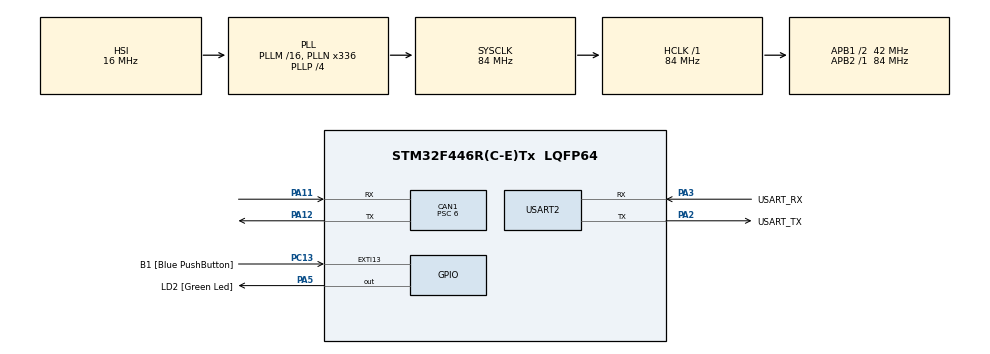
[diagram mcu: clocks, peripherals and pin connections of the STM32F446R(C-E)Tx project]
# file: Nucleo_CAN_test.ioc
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CAN1.BS1=CAN_BS1_11TQ
CAN1.BS2=CAN_BS2_2TQ
CAN1.CalculateBaudRate=500000
CAN1.CalculateTimeBit=1999.99
CAN1.CalculateTimeQuantum=142.85714285714286
CAN1.Mode=CAN_MODE_LOOPBACK
CAN1.Prescaler=6
Mcu.Family=STM32F4
Mcu.Name=STM32F446R(C-E)Tx
Mcu.Package=LQFP64
NVIC.CAN1_RX0_IRQn=true\:0\:0\:false\:false\:true\:true\:true
NVIC.PriorityGroup=NVIC_PRIORITYGROUP_0
NVIC.TIM3_IRQn=true\:0\:0\:false\:false\:true\:true\:true
PA11.Mode=CAN_Activate
PA11.Signal=CAN1_RX
PA12.Mode=CAN_Activate
PA12.Signal=CAN1_TX
PA13.GPIO_Label=TMS
PA13.Mode=Serial_Wire
PA13.Signal=SYS_JTMS-SWDIO
PA14.GPIO_Label=TCK
PA14.Mode=Serial_Wire
PA14.Signal=SYS_JTCK-SWCLK
PA2.GPIO_Label=USART_TX
PA2.Mode=Asynchronous
PA2.Signal=USART2_TX
PA3.GPIO_Label=USART_RX
PA3.Mode=Asynchronous
PA3.Signal=USART2_RX
PA5.GPIO_Label=LD2 [Green Led]
PA5.Signal=GPIO_Output
PB3.GPIO_Label=SWO
PB3.Signal=SYS_JTDO-SWO
PC13.GPIO_Label=B1 [Blue PushButton]
PC13.GPIO_ModeDefaultEXTI=GPIO_MODE_IT_FALLING
PC13.Signal=GPXTI13
PC14-OSC32_IN.Mode=LSE-External-Oscillator
PC14-OSC32_IN.Signal=RCC_OSC32_IN
PC15-OSC32_OUT.Mode=LSE-External-Oscillator
PC15-OSC32_OUT.Signal=RCC_OSC32_OUT
PH0-OSC_IN.Mode=HSE-External-Oscillator
PH0-OSC_IN.Signal=RCC_OSC_IN
PH1-OSC_OUT.Mode=HSE-External-Oscillator
PH1-OSC_OUT.Signal=RCC_OSC_OUT
ProjectManager.HeapSize=0x200
ProjectManager.StackSize=0x400
ProjectManager.TargetToolchain=Makefile
RCC.48MHZClocksFreq_Value=84000000
RCC.AHBFreq_Value=84000000
RCC.APB1CLKDivider=RCC_HCLK_DIV2
RCC.APB1Freq_Value=42000000
RCC.APB1TimFreq_Value=84000000
RCC.APB2Freq_Value=84000000
RCC.APB2TimFreq_Value=84000000
RCC.CortexFreq_Value=84000000
RCC.FLatency-AdvancedSettings=FLASH_LATENCY_2
RCC.HCLKFreq_Value=84000000
RCC.HSE_VALUE=8000000
RCC.HSI_VALUE=16000000
RCC.PLLN=336
RCC.PLLP=RCC_PLLP_DIV4
RCC.SYSCLKFreq_VALUE=84000000
RCC.SYSCLKSource=RCC_SYSCLKSOURCE_PLLCLK
RCC.USBFreq_Value=168000000
RCC.VCOOutputFreq_Value=336000000
TIM3.Period=10000-1
TIM3.Prescaler=8400-1
USART2.VirtualMode=VM_ASYNC
VP_TIM3_VS_ClockSourceINT.Mode=Internal
board=NUCLEO-F446RE

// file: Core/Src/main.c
/* USER CODE BEGIN Header */
/**
  ******************************************************************************
  * @file           : main.c
  * @brief          : Main program body
  ******************************************************************************
  * @attention
  *
  * <h2><center>&copy; Copyright (c) 2021 STMicroelectronics.
  * All rights reserved.</center></h2>
  *
  * This software component is licensed by ST under BSD 3-Clause license,
  * the "License"; You may not use this file except in compliance with the
  * License. You may obtain a copy of the License at:
  *                        opensource.org/licenses/BSD-3-Clause
  *
  ******************************************************************************
  */
/* USER CODE END Header */
#include "main.h"
#include "string.h"
#include "stdio.h"

/* USER CODE BEGIN PD */

#define FALSE 0
#define TRUE 1

/* USER CODE END PD */

CAN_HandleTypeDef hcan1;

TIM_HandleTypeDef htim3;

UART_HandleTypeDef huart2;

void SystemClock_Config(void);
static void MX_GPIO_Init(void);
static void MX_USART2_UART_Init(void);
static void MX_CAN1_Init(void);
static void MX_TIM3_Init(void);
/* USER CODE BEGIN PFP */

static void CAN_Filter_Config(void);
static void CAN_Application(void);
static void CAN_Rx(void);
volatile uint8_t can_send = TRUE;

CAN_RxHeaderTypeDef RxHeader;

/* USER CODE END PFP */

int main(void)
{

  /* MCU Configuration--------------------------------------------------------*/

  /* Reset of all peripherals, Initializes the Flash interface and the Systick. */
  HAL_Init();

  /* Configure the system clock */
  SystemClock_Config();

  /* Initialize all configured peripherals */
  MX_GPIO_Init();
  MX_USART2_UART_Init();
  MX_CAN1_Init();
  MX_TIM3_Init();
  /* USER CODE BEGIN 2 */
  HAL_CAN_ActivateNotification(&hcan1, CAN_IT_RX_FIFO0_MSG_PENDING);

  HAL_TIM_Base_Start_IT(&htim3);

  CAN_Filter_Config();

  if (HAL_CAN_Start(&hcan1) != HAL_OK){
    Error_Handler();
  }

  /* USER CODE END 2 */
  //CAN_Rx();
  /* Infinite loop */
  while (1)
  {
    //CAN_Application();

  }
}

void SystemClock_Config(void)
{
  RCC_OscInitTypeDef RCC_OscInitStruct = {0};
  RCC_ClkInitTypeDef RCC_ClkInitStruct = {0};

  /** Configure the main internal regulator output voltage
  */
  __HAL_RCC_PWR_CLK_ENABLE();
  __HAL_PWR_VOLTAGESCALING_CONFIG(PWR_REGULATOR_VOLTAGE_SCALE3);
  /** Initializes the RCC Oscillators according to the specified parameters
  * in the RCC_OscInitTypeDef structure.
  */
  RCC_OscInitStruct.OscillatorType = RCC_OSCILLATORTYPE_HSI;
  RCC_OscInitStruct.HSIState = RCC_HSI_ON;
  RCC_OscInitStruct.HSICalibrationValue = RCC_HSICALIBRATION_DEFAULT;
  RCC_OscInitStruct.PLL.PLLState = RCC_PLL_ON;
  RCC_OscInitStruct.PLL.PLLSource = RCC_PLLSOURCE_HSI;
  RCC_OscInitStruct.PLL.PLLM = 16;
  RCC_OscInitStruct.PLL.PLLN = 336;
  RCC_OscInitStruct.PLL.PLLP = RCC_PLLP_DIV4;
  RCC_OscInitStruct.PLL.PLLQ = 2;
  RCC_OscInitStruct.PLL.PLLR = 2;
  if (HAL_RCC_OscConfig(&RCC_OscInitStruct) != HAL_OK)
  {
    Error_Handler();
  }
  /** Initializes the CPU, AHB and APB buses clocks
  */
  RCC_ClkInitStruct.ClockType = RCC_CLOCKTYPE_HCLK|RCC_CLOCKTYPE_SYSCLK
                              |RCC_CLOCKTYPE_PCLK1|RCC_CLOCKTYPE_PCLK2;
  RCC_ClkInitStruct.SYSCLKSource = RCC_SYSCLKSOURCE_PLLCLK;
  RCC_ClkInitStruct.AHBCLKDivider = RCC_SYSCLK_DIV1;
  RCC_ClkInitStruct.APB1CLKDivider = RCC_HCLK_DIV2;
  RCC_ClkInitStruct.APB2CLKDivider = RCC_HCLK_DIV1;

  if (HAL_RCC_ClockConfig(&RCC_ClkInitStruct, FLASH_LATENCY_2) != HAL_OK)
  {
    Error_Handler();
  }
}

static void MX_CAN1_Init(void)
{

  hcan1.Instance = CAN1;
  hcan1.Init.Prescaler = 6;
  hcan1.Init.Mode = CAN_MODE_NORMAL;
  hcan1.Init.SyncJumpWidth = CAN_SJW_1TQ;
  hcan1.Init.TimeSeg1 = CAN_BS1_11TQ;
  hcan1.Init.TimeSeg2 = CAN_BS2_2TQ;
  hcan1.Init.TimeTriggeredMode = DISABLE;
  hcan1.Init.AutoBusOff = DISABLE;
  hcan1.Init.AutoWakeUp = DISABLE;
  hcan1.Init.AutoRetransmission = DISABLE;
  hcan1.Init.ReceiveFifoLocked = DISABLE;
  hcan1.Init.TransmitFifoPriority = DISABLE;
  if (HAL_CAN_Init(&hcan1) != HAL_OK)
  {
    Error_Handler();
  }

}

static void MX_TIM3_Init(void)
{

  TIM_ClockConfigTypeDef sClockSourceConfig = {0};
  TIM_MasterConfigTypeDef sMasterConfig = {0};

  htim3.Instance = TIM3;
  htim3.Init.Prescaler = 8400-1;
  htim3.Init.CounterMode = TIM_COUNTERMODE_UP;
  htim3.Init.Period = 10000-1;
  htim3.Init.ClockDivision = TIM_CLOCKDIVISION_DIV1;
  htim3.Init.AutoReloadPreload = TIM_AUTORELOAD_PRELOAD_DISABLE;
  if (HAL_TIM_Base_Init(&htim3) != HAL_OK)
  {
    Error_Handler();
  }
  sClockSourceConfig.ClockSource = TIM_CLOCKSOURCE_INTERNAL;
  if (HAL_TIM_ConfigClockSource(&htim3, &sClockSourceConfig) != HAL_OK)
  {
    Error_Handler();
  }
  sMasterConfig.MasterOutputTrigger = TIM_TRGO_RESET;
  sMasterConfig.MasterSlaveMode = TIM_MASTERSLAVEMODE_DISABLE;
  if (HAL_TIMEx_MasterConfigSynchronization(&htim3, &sMasterConfig) != HAL_OK)
  {
    Error_Handler();
  }

}

static void MX_USART2_UART_Init(void)
{

  huart2.Instance = USART2;
  huart2.Init.BaudRate = 115200;
  huart2.Init.WordLength = UART_WORDLENGTH_8B;
  huart2.Init.StopBits = UART_STOPBITS_1;
  huart2.Init.Parity = UART_PARITY_NONE;
  huart2.Init.Mode = UART_MODE_TX_RX;
  huart2.Init.HwFlowCtl = UART_HWCONTROL_NONE;
  huart2.Init.OverSampling = UART_OVERSAMPLING_16;
  if (HAL_UART_Init(&huart2) != HAL_OK)
  {
    Error_Handler();
  }

}

static void MX_GPIO_Init(void)
{
  GPIO_InitTypeDef GPIO_InitStruct = {0};

  /* GPIO Ports Clock Enable */
  __HAL_RCC_GPIOC_CLK_ENABLE();
  __HAL_RCC_GPIOH_CLK_ENABLE();
  __HAL_RCC_GPIOA_CLK_ENABLE();
  __HAL_RCC_GPIOB_CLK_ENABLE();

  /*Configure GPIO pin Output Level */
  HAL_GPIO_WritePin(LD2_GPIO_Port, LD2_Pin, GPIO_PIN_RESET);

  /*Configure GPIO pin : B1_Pin */
  GPIO_InitStruct.Pin = B1_Pin;
  GPIO_InitStruct.Mode = GPIO_MODE_IT_FALLING;
  GPIO_InitStruct.Pull = GPIO_NOPULL;
  HAL_GPIO_Init(B1_GPIO_Port, &GPIO_InitStruct);

  /*Configure GPIO pin : LD2_Pin */
  GPIO_InitStruct.Pin = LD2_Pin;
  GPIO_InitStruct.Mode = GPIO_MODE_OUTPUT_PP;
  GPIO_InitStruct.Pull = GPIO_NOPULL;
  GPIO_InitStruct.Speed = GPIO_SPEED_FREQ_LOW;
  HAL_GPIO_Init(LD2_GPIO_Port, &GPIO_InitStruct);

}

/* USER CODE BEGIN 4 */

void CAN_Application(){

  CAN_TxHeaderTypeDef TxHeader;
  uint32_t TxMailbox;

  char msg[50];
  uint8_t message[5] = {'H','E','L','L','O'};

  TxHeader.DLC = 5;
  TxHeader.StdId = 0x65D;
  TxHeader.IDE = CAN_ID_STD;
  TxHeader.RTR = CAN_RTR_DATA;

  char *user_data = "This application is running!\r\n";

  if (can_send){
    HAL_GPIO_TogglePin(LD2_GPIO_Port,LD2_Pin);

    if (HAL_CAN_AddTxMessage(&hcan1, &TxHeader, message, &TxMailbox) != HAL_OK){

      Error_Handler();

    }

    while (HAL_CAN_IsTxMessagePending(&hcan1, TxMailbox));

    sprintf(msg, "Message transmitted: \r\n");
    HAL_UART_Transmit(&huart2, (uint8_t*)msg, strlen(msg), HAL_MAX_DELAY);

    //uint16_t len_of_data = strlen(user_data);

    //HAL_UART_Transmit(&huart2, (uint8_t*)user_data, len_of_data, HAL_MAX_DELAY);

    can_send = FALSE;
  }
}

void CAN_Filter_Config(){

  CAN_FilterTypeDef can1_filter_init;

  can1_filter_init.FilterActivation = ENABLE;
  can1_filter_init.FilterBank = 0;
  can1_filter_init.FilterFIFOAssignment = CAN_RX_FIFO0;
  can1_filter_init.FilterIdHigh = 0x0000;
  can1_filter_init.FilterIdLow = 0x0000;
  can1_filter_init.FilterMaskIdHigh = 0x0000;
  can1_filter_init.FilterMaskIdLow = 0x0000;
  can1_filter_init.FilterMode = CAN_FILTERMODE_IDMASK;
  can1_filter_init.FilterScale = CAN_FILTERSCALE_32BIT;

  if (HAL_CAN_ConfigFilter(&hcan1, &can1_filter_init) != HAL_OK){
    Error_Handler();

  }
}

void CAN_Rx(){

  CAN_RxHeaderTypeDef RxHeader;
  uint8_t rcvd_msg[8];

  char msg[64];

  while(!HAL_CAN_GetRxFifoFillLevel(&hcan1, CAN_RX_FIFO0)){
    sprintf(msg, "waiting for can msg\r\n");
    HAL_UART_Transmit(&huart2, (uint8_t*)msg, strlen(msg), HAL_MAX_DELAY);
    HAL_Delay(100);

  }

  if (HAL_CAN_GetRxMessage(&hcan1, CAN_RX_FIFO0, &RxHeader, rcvd_msg) != HAL_OK){
    sprintf(msg, "can rx error\r\n");
    HAL_UART_Transmit(&huart2, (uint8_t*)msg, strlen(msg), HAL_MAX_DELAY);
    Error_Handler();

  }

  sprintf(msg, "Message received: %s\r\n", rcvd_msg);
  HAL_UART_Transmit(&huart2, (uint8_t*)msg, strlen(msg), HAL_MAX_DELAY);

}

void HAL_CAN_RxFifo0MsgPendingCallback(CAN_HandleTypeDef *hcan){

  uint8_t rcvd_msg[8];

  char msg[50];

  if (HAL_CAN_GetRxMessage(hcan, CAN_RX_FIFO0, &RxHeader, rcvd_msg) != HAL_OK){

    Error_Handler();

  }

  uint16_t potValue = rcvd_msg[2] << 8 | rcvd_msg[3];

  sprintf(msg, "Message received: ID:%x %x %x %d %x %x %x %x\r\n", RxHeader.StdId, rcvd_msg[0],rcvd_msg[1],potValue, rcvd_msg[4],rcvd_msg[5],rcvd_msg[6],rcvd_msg[7]);
  HAL_UART_Transmit(&huart2, (uint8_t*)msg, strlen(msg), HAL_MAX_DELAY);

}

//Time base: one second----------
void HAL_TIM_PeriodElapsedCallback(TIM_HandleTypeDef *htim){

  //HAL_GPIO_TogglePin(USER_LED_GPIO_Port, USER_LED_Pin);

  if (htim  == &htim3){

      can_send = TRUE;
  }
  else {
      __NOP ();
  }

}

/* USER CODE END 4 */

void Error_Handler(void)
{
  /* USER CODE BEGIN Error_Handler_Debug */
  /* User can add his own implementation to report the HAL error return state */
  __disable_irq();
  while (1)
  {
    HAL_GPIO_WritePin(LD2_GPIO_Port, LD2_Pin, GPIO_PIN_SET);
  }
  /* USER CODE END Error_Handler_Debug */
}

/************************ (C) COPYRIGHT STMicroelectronics *****END OF FILE****/
